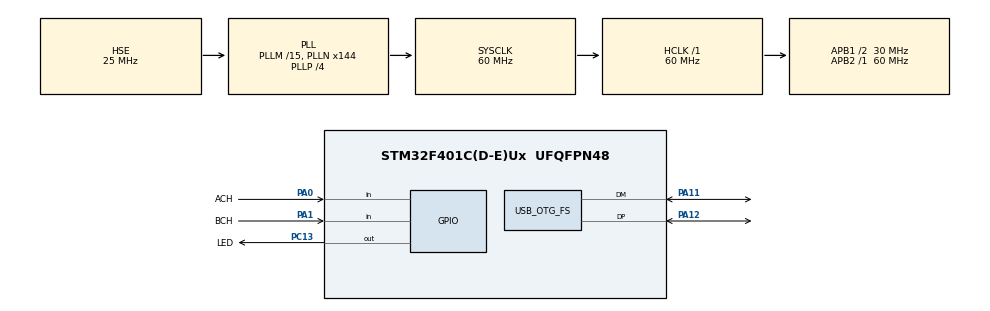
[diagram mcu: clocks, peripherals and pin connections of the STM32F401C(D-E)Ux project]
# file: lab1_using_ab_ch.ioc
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Mcu.Family=STM32F4
Mcu.Name=STM32F401C(D-E)Ux
Mcu.Package=UFQFPN48
NVIC.OTG_FS_IRQn=true\:0\:0\:false\:false\:true\:false\:true\:true
NVIC.PriorityGroup=NVIC_PRIORITYGROUP_4
PA0-WKUP.GPIO_Label=ACH
PA0-WKUP.Signal=GPIO_Input
PA1.GPIO_Label=BCH
PA1.Signal=GPIO_Input
PA11.Mode=Device_Only
PA11.Signal=USB_OTG_FS_DM
PA12.Mode=Device_Only
PA12.Signal=USB_OTG_FS_DP
PA13.Mode=Serial_Wire
PA13.Signal=SYS_JTMS-SWDIO
PA14.Mode=Serial_Wire
PA14.Signal=SYS_JTCK-SWCLK
PC13-ANTI_TAMP.GPIO_Label=LED
PC13-ANTI_TAMP.Signal=GPIO_Output
PH0\ -\ OSC_IN.Mode=HSE-External-Oscillator
PH0\ -\ OSC_IN.Signal=RCC_OSC_IN
PH1\ -\ OSC_OUT.Mode=HSE-External-Oscillator
PH1\ -\ OSC_OUT.Signal=RCC_OSC_OUT
ProjectManager.HeapSize=0x200
ProjectManager.StackSize=0x400
ProjectManager.TargetToolchain=STM32CubeIDE
RCC.48MHZClocksFreq_Value=48000000
RCC.AHBFreq_Value=60000000
RCC.APB1CLKDivider=RCC_HCLK_DIV2
RCC.APB1Freq_Value=30000000
RCC.APB1TimFreq_Value=60000000
RCC.APB2Freq_Value=60000000
RCC.APB2TimFreq_Value=60000000
RCC.CortexFreq_Value=60000000
RCC.HCLKFreq_Value=60000000
RCC.HSE_VALUE=25000000
RCC.HSI_VALUE=16000000
RCC.LSE_VALUE=32768
RCC.PLLM=15
RCC.PLLN=144
RCC.PLLP=RCC_PLLP_DIV4
RCC.PLLQ=5
RCC.SYSCLKFreq_VALUE=60000000
RCC.SYSCLKSource=RCC_SYSCLKSOURCE_PLLCLK
RCC.VCOOutputFreq_Value=240000000
USB_DEVICE.CLASS_NAME_FS=CDC
USB_DEVICE.VirtualMode-CDC_FS=Cdc
USB_DEVICE.VirtualModeFS=Cdc_FS
USB_OTG_FS.VirtualMode=Device_Only
VP_USB_DEVICE_VS_USB_DEVICE_CDC_FS.Mode=CDC_FS
board=custom

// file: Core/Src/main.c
/* USER CODE BEGIN Header */
/**
  ******************************************************************************
  * @file           : main.c
  * @brief          : Main program body
  ******************************************************************************
  * @attention
  *
  * Copyright (c) 2025 STMicroelectronics.
  * All rights reserved.
  *
  * This software is licensed under terms that can be found in the LICENSE file
  * in the root directory of this software component.
  * If no LICENSE file comes with this software, it is provided AS-IS.
  *
  ******************************************************************************
  */
/* USER CODE END Header */
#include "main.h"
#include "usb_device.h"

/* USER CODE BEGIN Includes */
#include "usbd_cdc_if.h"
#include "stdio.h"
extern uint8_t UserTxBufferFS[APP_TX_DATA_SIZE];

/* USER CODE END Includes */

/* USER CODE BEGIN PD */
uint16_t A_raw = 0;
uint16_t B_raw = 0;
float angle = 0;

typedef struct {
    int steps_per_revolution;
    int position;
    uint16_t prev_A;
    uint16_t prev_B;
    int last_position;
    uint32_t last_update_time;
    float speed;
} QuadratureEncoder;

void QuadratureEncoder_Init(QuadratureEncoder *encoder, int steps_per_revolution) {
    encoder->steps_per_revolution = steps_per_revolution;
    encoder->position = 0;
    encoder->prev_A = 0;
    encoder->prev_B = 0;
    encoder->last_position = 0;
    encoder->last_update_time = HAL_GetTick();
    encoder->speed = 0.0f;
}

void QuadratureEncoder_Update(QuadratureEncoder *encoder, uint16_t A_raw, uint16_t B_raw) {
    uint16_t A = A_raw;
    uint16_t B = B_raw;

    uint16_t state = (encoder->prev_A << 1) | encoder->prev_B;
    uint16_t new_state = (A << 1) | B;

    // Determine the delta based on state transitions
    int16_t delta = 0;
    if (state == 0b00) {
        if (new_state == 0b01) delta = 1;
        else if (new_state == 0b10) delta = -1;
    } else if (state == 0b01) {
        if (new_state == 0b11) delta = 1;
        else if (new_state == 0b00) delta = -1;
    } else if (state == 0b10) {
        if (new_state == 0b00) delta = 1;
        else if (new_state == 0b11) delta = -1;
    } else if (state == 0b11) {
        if (new_state == 0b10) delta = 1;
        else if (new_state == 0b01) delta = -1;
    }

    encoder->position += delta;

    encoder->prev_A = A;
    encoder->prev_B = B;

    // Calculate speed
    uint32_t current_time = HAL_GetTick();
    uint32_t dt = current_time - encoder->last_update_time; // Time difference in milliseconds

    if (dt > 0) {
        int position_change = encoder->position - encoder->last_position;
        encoder->speed = (1000.0f * position_change) / dt; // Speed in steps per second
    }

    // Update last position and time
    encoder->last_position = encoder->position;
    encoder->last_update_time = current_time;
}

float QuadratureEncoder_GetAngle(QuadratureEncoder *encoder) {
    return ((float)encoder->position / encoder->steps_per_revolution) * 360.0f;
}

QuadratureEncoder encoder;

/* USER CODE END PD */

void SystemClock_Config(void);
static void MX_GPIO_Init(void);

int main(void)
{

  /* MCU Configuration--------------------------------------------------------*/

  /* Reset of all peripherals, Initializes the Flash interface and the Systick. */
  HAL_Init();

  /* Configure the system clock */
  SystemClock_Config();

  /* Initialize all configured peripherals */
  MX_GPIO_Init();
  MX_USB_DEVICE_Init();
  /* USER CODE BEGIN 2 */
  QuadratureEncoder_Init(&encoder, 80);
  /* USER CODE END 2 */

  /* Infinite loop */
  while (1)
  {

    /* USER CODE BEGIN 3 */

	  A_raw = HAL_GPIO_ReadPin(ACH_GPIO_Port, ACH_Pin);
	  B_raw = HAL_GPIO_ReadPin(BCH_GPIO_Port, BCH_Pin);

	  QuadratureEncoder_Update(&encoder, A_raw, B_raw);

      angle = QuadratureEncoder_GetAngle(&encoder);

//      printf("Speed: %.2f steps/s | Angle: %.2f degrees\r\n", encoder.speed, angle);
//
//      sprintf((char*)UserTxBufferFS, "%d\n", encoder.position);  // Update data buffer to send
//      CDC_Transmit_FS(UserTxBufferFS, sizeof UserTxBufferFS / sizeof UserTxBufferFS[0]); // Send the data to Serial Com Port

      snprintf(UserTxBufferFS, sizeof(UserTxBufferFS), "Speed: %.2f steps/s | Angle: %.2f°\r\n", encoder.speed, angle);

      /* Send data to USB CDC */
      CDC_Transmit_FS((uint8_t*)UserTxBufferFS, strlen(UserTxBufferFS));

      HAL_Delay(100); // Delay to prevent excessive printing

  }
  /* USER CODE END 3 */
}

void SystemClock_Config(void)
{
  RCC_OscInitTypeDef RCC_OscInitStruct = {0};
  RCC_ClkInitTypeDef RCC_ClkInitStruct = {0};

  /** Configure the main internal regulator output voltage
  */
  __HAL_RCC_PWR_CLK_ENABLE();
  __HAL_PWR_VOLTAGESCALING_CONFIG(PWR_REGULATOR_VOLTAGE_SCALE2);

  /** Initializes the RCC Oscillators according to the specified parameters
  * in the RCC_OscInitTypeDef structure.
  */
  RCC_OscInitStruct.OscillatorType = RCC_OSCILLATORTYPE_HSE;
  RCC_OscInitStruct.HSEState = RCC_HSE_ON;
  RCC_OscInitStruct.PLL.PLLState = RCC_PLL_ON;
  RCC_OscInitStruct.PLL.PLLSource = RCC_PLLSOURCE_HSE;
  RCC_OscInitStruct.PLL.PLLM = 15;
  RCC_OscInitStruct.PLL.PLLN = 144;
  RCC_OscInitStruct.PLL.PLLP = RCC_PLLP_DIV4;
  RCC_OscInitStruct.PLL.PLLQ = 5;
  if (HAL_RCC_OscConfig(&RCC_OscInitStruct) != HAL_OK)
  {
    Error_Handler();
  }

  /** Initializes the CPU, AHB and APB buses clocks
  */
  RCC_ClkInitStruct.ClockType = RCC_CLOCKTYPE_HCLK|RCC_CLOCKTYPE_SYSCLK
                              |RCC_CLOCKTYPE_PCLK1|RCC_CLOCKTYPE_PCLK2;
  RCC_ClkInitStruct.SYSCLKSource = RCC_SYSCLKSOURCE_PLLCLK;
  RCC_ClkInitStruct.AHBCLKDivider = RCC_SYSCLK_DIV1;
  RCC_ClkInitStruct.APB1CLKDivider = RCC_HCLK_DIV2;
  RCC_ClkInitStruct.APB2CLKDivider = RCC_HCLK_DIV1;

  if (HAL_RCC_ClockConfig(&RCC_ClkInitStruct, FLASH_LATENCY_1) != HAL_OK)
  {
    Error_Handler();
  }
}

static void MX_GPIO_Init(void)
{
  GPIO_InitTypeDef GPIO_InitStruct = {0};

  /* GPIO Ports Clock Enable */
  __HAL_RCC_GPIOC_CLK_ENABLE();
  __HAL_RCC_GPIOH_CLK_ENABLE();
  __HAL_RCC_GPIOA_CLK_ENABLE();

  /*Configure GPIO pin Output Level */
  HAL_GPIO_WritePin(LED_GPIO_Port, LED_Pin, GPIO_PIN_RESET);

  /*Configure GPIO pin : LED_Pin */
  GPIO_InitStruct.Pin = LED_Pin;
  GPIO_InitStruct.Mode = GPIO_MODE_OUTPUT_PP;
  GPIO_InitStruct.Pull = GPIO_NOPULL;
  GPIO_InitStruct.Speed = GPIO_SPEED_FREQ_LOW;
  HAL_GPIO_Init(LED_GPIO_Port, &GPIO_InitStruct);

  /*Configure GPIO pins : ACH_Pin BCH_Pin */
  GPIO_InitStruct.Pin = ACH_Pin|BCH_Pin;
  GPIO_InitStruct.Mode = GPIO_MODE_INPUT;
  GPIO_InitStruct.Pull = GPIO_NOPULL;
  HAL_GPIO_Init(GPIOA, &GPIO_InitStruct);

}

void Error_Handler(void)
{
  __disable_irq();
  while (1)
  {
  }
}
